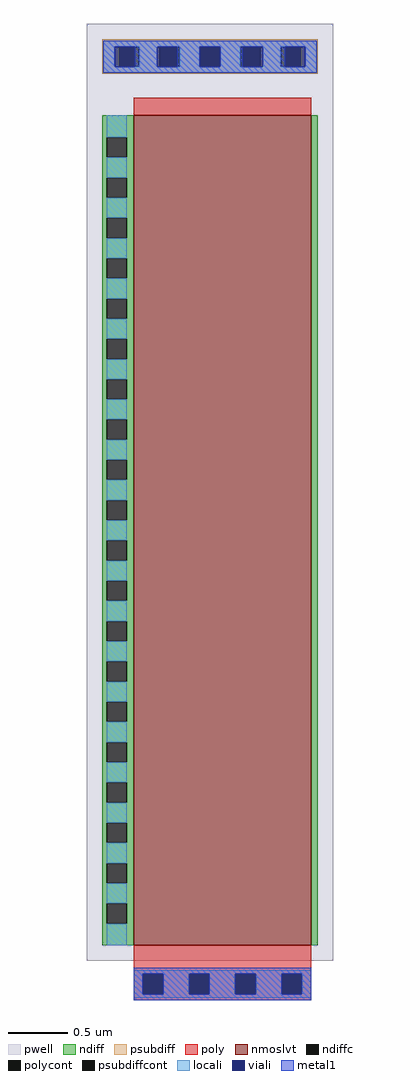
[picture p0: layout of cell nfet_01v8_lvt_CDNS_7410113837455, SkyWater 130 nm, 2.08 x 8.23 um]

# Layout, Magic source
magic
tech sky130A
magscale 1 2
<< pwell >>
rect -79 -26 337 1554
<< nmoslvt >>
rect 0 0 300 1400
<< ndiff >>
rect -53 1363 0 1400
rect -53 1329 -45 1363
rect -11 1329 0 1363
rect -53 1295 0 1329
rect -53 1261 -45 1295
rect -11 1261 0 1295
rect -53 1227 0 1261
rect -53 1193 -45 1227
rect -11 1193 0 1227
rect -53 1159 0 1193
rect -53 1125 -45 1159
rect -11 1125 0 1159
rect -53 1091 0 1125
rect -53 1057 -45 1091
rect -11 1057 0 1091
rect -53 1023 0 1057
rect -53 989 -45 1023
rect -11 989 0 1023
rect -53 955 0 989
rect -53 921 -45 955
rect -11 921 0 955
rect -53 887 0 921
rect -53 853 -45 887
rect -11 853 0 887
rect -53 819 0 853
rect -53 785 -45 819
rect -11 785 0 819
rect -53 751 0 785
rect -53 717 -45 751
rect -11 717 0 751
rect -53 683 0 717
rect -53 649 -45 683
rect -11 649 0 683
rect -53 615 0 649
rect -53 581 -45 615
rect -11 581 0 615
rect -53 547 0 581
rect -53 513 -45 547
rect -11 513 0 547
rect -53 479 0 513
rect -53 445 -45 479
rect -11 445 0 479
rect -53 411 0 445
rect -53 377 -45 411
rect -11 377 0 411
rect -53 343 0 377
rect -53 309 -45 343
rect -11 309 0 343
rect -53 275 0 309
rect -53 241 -45 275
rect -11 241 0 275
rect -53 207 0 241
rect -53 173 -45 207
rect -11 173 0 207
rect -53 139 0 173
rect -53 105 -45 139
rect -11 105 0 139
rect -53 71 0 105
rect -53 37 -45 71
rect -11 37 0 71
rect -53 0 0 37
rect 300 0 311 1400
<< ndiffc >>
rect -45 1329 -11 1363
rect -45 1261 -11 1295
rect -45 1193 -11 1227
rect -45 1125 -11 1159
rect -45 1057 -11 1091
rect -45 989 -11 1023
rect -45 921 -11 955
rect -45 853 -11 887
rect -45 785 -11 819
rect -45 717 -11 751
rect -45 649 -11 683
rect -45 581 -11 615
rect -45 513 -11 547
rect -45 445 -11 479
rect -45 377 -11 411
rect -45 309 -11 343
rect -45 241 -11 275
rect -45 173 -11 207
rect -45 105 -11 139
rect -45 37 -11 71
<< psubdiff >>
rect -53 1516 311 1528
rect -53 1482 -24 1516
rect 10 1482 44 1516
rect 78 1482 112 1516
rect 146 1482 180 1516
rect 214 1482 248 1516
rect 282 1482 311 1516
rect -53 1470 311 1482
<< psubdiffcont >>
rect -24 1482 10 1516
rect 44 1482 78 1516
rect 112 1482 146 1516
rect 180 1482 214 1516
rect 248 1482 282 1516
<< poly >>
rect 0 1400 300 1430
rect 0 -48 300 0
rect 0 -82 16 -48
rect 50 -82 94 -48
rect 128 -82 172 -48
rect 206 -82 250 -48
rect 284 -82 300 -48
rect 0 -92 300 -82
<< polycont >>
rect 16 -82 50 -48
rect 94 -82 128 -48
rect 172 -82 206 -48
rect 250 -82 284 -48
<< locali >>
rect -51 1516 309 1526
rect -51 1482 -32 1516
rect 10 1482 40 1516
rect 78 1482 112 1516
rect 146 1482 180 1516
rect 218 1482 248 1516
rect 290 1482 309 1516
rect -51 1472 309 1482
rect -45 1363 -11 1400
rect -45 1295 -11 1329
rect -45 1227 -11 1261
rect -45 1159 -11 1193
rect -45 1091 -11 1125
rect -45 1023 -11 1057
rect -45 955 -11 989
rect -45 887 -11 921
rect -45 819 -11 853
rect -45 751 -11 785
rect -45 683 -11 717
rect -45 615 -11 649
rect -45 547 -11 581
rect -45 479 -11 513
rect -45 411 -11 445
rect -45 343 -11 377
rect -45 275 -11 309
rect -45 207 -11 241
rect -45 139 -11 173
rect -45 71 -11 105
rect -45 0 -11 37
rect 0 -48 300 -42
rect 0 -82 16 -48
rect 50 -82 94 -48
rect 128 -82 172 -48
rect 206 -82 250 -48
rect 284 -82 300 -48
rect 0 -88 300 -82
<< viali >>
rect -32 1482 -24 1516
rect -24 1482 2 1516
rect 40 1482 44 1516
rect 44 1482 74 1516
rect 112 1482 146 1516
rect 184 1482 214 1516
rect 214 1482 218 1516
rect 256 1482 282 1516
rect 282 1482 290 1516
rect 16 -82 50 -48
rect 94 -82 128 -48
rect 172 -82 206 -48
rect 250 -82 284 -48
<< metal1 >>
rect -51 1516 309 1526
rect -51 1482 -32 1516
rect 2 1482 40 1516
rect 74 1482 112 1516
rect 146 1482 184 1516
rect 218 1482 256 1516
rect 290 1482 309 1516
rect -51 1472 309 1482
rect 0 -48 300 -38
rect 0 -82 16 -48
rect 50 -82 94 -48
rect 128 -82 172 -48
rect 206 -82 250 -48
rect 284 -82 300 -48
rect 0 -92 300 -82
<< end >>
